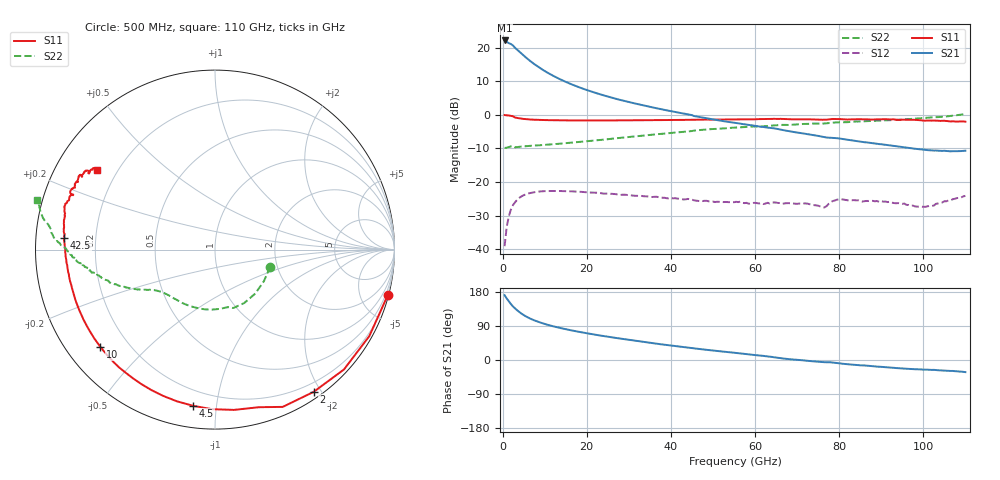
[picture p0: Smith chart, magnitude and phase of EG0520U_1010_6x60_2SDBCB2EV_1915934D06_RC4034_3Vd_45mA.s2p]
!File name = EG0520U_1010_6x60_2SDBCB2EV_1915934D06_RC4034_3Vd_45mA.s2p
!Base file name = EG0520U_1010_6x60_2SDBCB2EV_1915934D06_RC4034
!Date = 8/23/2019
!Time = 12:57 PM
!Test duration(min) = 0.15
!Test = S-Parameters
!MPTS version = 8.91.5
!State File = C:\Data\PNA\20190821205423\S-Parameters_2019-08-23.sta
!Cal File =
!ComputerName = CMPE-LAB-6
!Comments =
!Attenuation = 0
!Z0 = 50
!Input Power(dBm) = -13.00
!Device ID = EG0520U_1010_6x60_2SDBCB2EV
!Row = 40
!Column = 34
!Technology = QPHT09
!Lot/Wafer = 1915934D06
!Gate Size = 360
!Mask = EG0520
!Cal Standards = GaAs BCB
!Cal Kit = EG2306
!Job Number = 20190821205423
!Device Type = FET
!set_Vg(v) = -1.500
!set_Vd(v) = 3.000
!set_Vd(mA) = 45.000
!file_name = EG0520U_1010_6x60_2SDBCB2EV_1915934D06_RC4034_3Vd_45mA.s2p
!Vd(V) = 3.000
!Vd(mA) = 45.154
!Vg(V) = -0.481
!Vg(mA) = -0.001
# GHz  S  DB  R  50
!%	Freq(GHz)  s11(dB)  s11(deg)  s21(dB)  s21(deg)  s12(dB)  s12(deg)  s22(dB)  s22(deg)
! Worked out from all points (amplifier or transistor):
!   220 points, 500 MHz to 110 GHz, reference 50 ohm
!   highest |S21| = 22.2 dB at 500 MHz (marker M1)
!   |S21| within 3 dB of that: start of sweep to 3.701 GHz
!   unconditionally stable (mu >= 1): 33.02 GHz to 103.2 GHz
!   at 18.5 GHz: K = 0.54, MSG = 15.5 dB, |S12| = -22.9 dB
!   at 55.5 GHz: K = 1.51, MAG = 7.5 dB, |S12| = -25.9 dB
!   at 110 GHz: K = -1.37, MSG = 6.7 dB, |S12| = -24.1 dB
!   S11 on the Smith chart (normalised r, x): 500 MHz: 0.14, -7.69; 2 GHz: 0.08, -1.91; 4.5 GHz: 0.11, -0.86; 10 GHz: 0.10, -0.36; 42.5 GHz: 0.09, +0.04; 110 GHz: 0.13, +0.30
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0.5  -0.04 -14.8  22.19 171.0  -39.13 81.3  -9.85 -17.2
1  -0.12 -29.3  21.75 162.4  -33.36 73.6  -9.78 -32.8
2  -0.31 -55.3  21.12 147.6  -28.22 59.3  -9.39 -61.5
2.5  -0.41 -66.7  20.67 141.2  -26.85 53.5  -9.34 -72.6
3  -0.80 -74.4  19.98 136.1  -26.04 49.2  -9.67 -77.3
3.5  -0.92 -83.2  19.42 131.0  -25.29 44.7  -9.59 -85.5
4.5  -1.12 -97.9  18.28 122.4  -24.30 37.4  -9.44 -99.0
5.5  -1.26 -109.5  17.18 115.4  -23.70 31.7  -9.35 -109.0
7  -1.41 -122.7  15.66 107.2  -23.18 25.3  -9.19 -119.6
8.5  -1.48 -132.2  14.32 100.7  -22.87 20.6  -9.08 -126.3
10  -1.54 -139.7  13.10 95.3  -22.73 16.7  -8.95 -131.6
11.5  -1.58 -145.7  12.02 90.5  -22.68 13.7  -8.81 -135.4
13.5  -1.62 -152.0  10.73 85.0  -22.68 10.6  -8.60 -139.2
19  -1.67 -163.5  7.87 72.6  -22.96 4.9  -7.97 -145.2
26.5  -1.64 -172.8  4.95 58.9  -23.58 1.6  -7.03 -149.8
37  -1.55 179.0  1.87 42.4  -24.50 1.2  -5.73 -155.2
42.5  -1.50 175.5  0.52 34.7  -25.13 1.2  -5.11 -158.0
55.5  -1.34 168.2  -2.41 18.6  -25.91 4.4  -3.76 -165.6
73.5  -1.34 159.3  -5.96 -3.2  -26.81 2.7  -2.57 -173.4
92  -1.35 151.1  -9.08 -19.9  -25.89 -9.7  -1.56 179.4
100.5  -1.73 148.8  -10.45 -25.5  -27.40 -7.3  -0.87 175.2
110  -2.02 146.1  -10.68 -32.0  -24.14 -8.5  0.24 164.5
